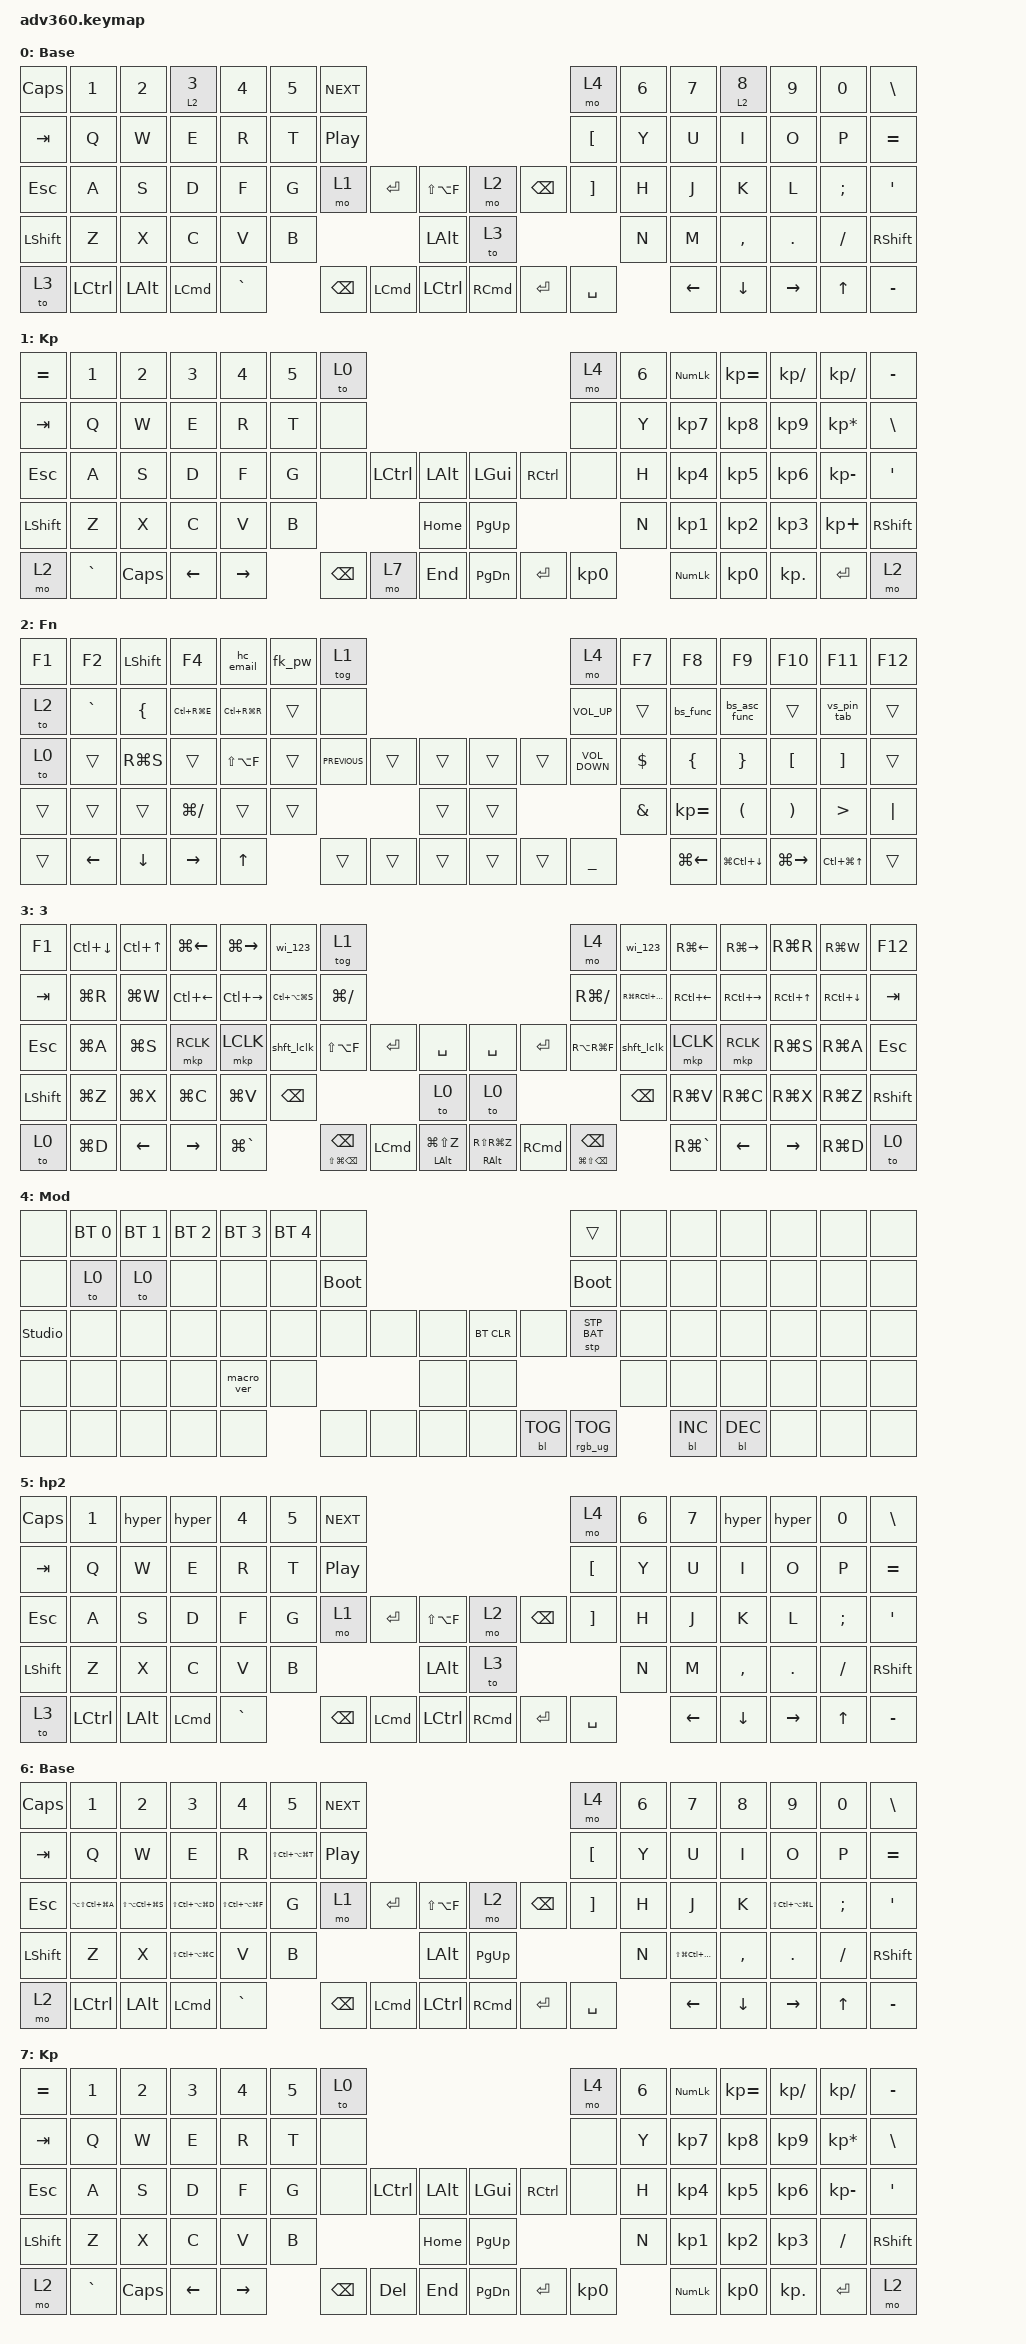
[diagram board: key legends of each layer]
#include <dt-bindings/zmk/stp.h>
#include <behaviors.dtsi>
#include <dt-bindings/zmk/backlight.h>
#include <dt-bindings/zmk/bt.h>
#include <dt-bindings/zmk/keys.h>
#include <dt-bindings/zmk/pointing.h>
#include <dt-bindings/zmk/rgb.h>

/ {
    behaviors {
        #include "macros.dtsi"
      #include "version.dtsi"

        hm: homerow_mods {
            compatible = "zmk,behavior-hold-tap";
            label = "HOMEROW_MODS";
            #binding-cells = <2>;
            tapping-term-ms = <200>;
            quick_tap_ms = <175>;
            flavor = "tap-preferred";
            bindings = <&kp>, <&kp>;
        };
    };

    macros {
        bs_func: bs_func {
            compatible = "zmk,behavior-macro";
            #binding-cells = <0>;
            bindings = <&kp LPAR &kp RPAR &kp SPACE &kp EQUAL &kp GT &kp LBRC &kp RIGHT_BRACE &kp LEFT>;
            label = "BS_FUNC";
        };

        bs_asc_func: bs_asc_func {
            compatible = "zmk,behavior-macro";
            #binding-cells = <0>;
            bindings = <&kp A &kp S &kp Y &kp N &kp C &kp LPAR &kp RPAR &kp SPACE &kp EQUAL &kp GT &kp LBRC &kp RIGHT_BRACE &kp LEFT>;
            label = "BS_ASC_FUNC";
        };

        shft_lclk: shft_lclk {
            compatible = "zmk,behavior-macro";
            #binding-cells = <0>;
            bindings =
                <&macro_press>,
                <&kp LSHIFT &mkp LCLK>,
                <&macro_pause_for_release>,
                <&macro_release>,
                <&kp LSHIFT &mkp LCLK>;

            label = "SHFT_LCLK";
        };

        vs_pin_tab: vs_pin_tab {
            compatible = "zmk,behavior-macro";
            #binding-cells = <0>;
            bindings = <&kp LG(K) &kp LS(ENTER)>;
            label = "VS_PIN_TAB";
        };

        hc_email: hc_email {
            compatible = "zmk,behavior-macro";
            #binding-cells = <0>;
            bindings = <&kp H &kp A &kp R &kp R &kp Y &kp C &kp O &kp R &kp R &kp A &kp D &kp I &kp N1 &kp AT &kp G &kp M &kp A &kp I &kp L &kp DOT &kp C &kp O &kp M>;
            label = "HC_EMAIL";
        };

        fk_pw: fk_pw {
            compatible = "zmk,behavior-macro";
            #binding-cells = <0>;
            bindings = <&kp F &kp A &kp K &kp E &kp P &kp A &kp S &kp S &kp W &kp O &kp R &kp D>;
            label = "FK_PW";
        };

        hyper: hyper {
            compatible = "zmk,behavior-macro";
            #binding-cells = <0>;
            bindings =
                <&macro_press>,
                <&kp LEFT_SHIFT &kp LEFT_CONTROL &kp LEFT_ALT &kp LEFT_GUI>,
                <&macro_pause_for_release>,
                <&macro_release>,
                <&kp LEFT_SHIFT &kp LEFT_CONTROL &kp LEFT_ALT &kp LEFT_GUI>;

            label = "HYPER";
        };

        wi_123: wi_123 {
            compatible = "zmk,behavior-macro";
            #binding-cells = <0>;
            bindings = <&kp KP_NUMBER_1 &kp KP_NUMBER_2 &kp KP_NUMBER_3>;
            label = "WI_123";
        };
    };

    combos {
        compatible = "zmk,combos";

        left_hyper_comb {
            bindings = <&hyper>;
            key-positions = <2 3>;
            layers = <0>;
        };

        right_hyper_comb {
            bindings = <&hyper>;
            key-positions = <10 11>;
            layers = <0>;
        };

        left_hyper_lower {
            bindings = <&hyper>;
            key-positions = <63 64>;
        };

        right_hyper_lower {
            bindings = <&hyper>;
            key-positions = <71 72>;
        };

        left_fn_layer {
            bindings = <&mo 2>;
            key-positions = <62 63 64>;
        };

        right_fn_layer {
            bindings = <&mo 2>;
            key-positions = <71 72 73>;
        };

        to_layer_2 {
            bindings = <&to 2>;
            key-positions = <14 15>;
        };
    };

    keymap {
        compatible = "zmk,keymap";

        default_layer {
            display-name = "Base";
            bindings = <
&kp CAPSLOCK  &kp N1            &kp NUMBER_2  &lt 2 NUMBER_3    &kp N4     &kp N5  &kp C_NEXT                                                                                  &mo 4              &kp N6  &kp N7    &lt 2 NUMBER_8  &kp NUMBER_9  &kp N0    &kp BACKSLASH
&kp TAB       &kp Q             &kp W         &kp E             &kp R      &kp T   &kp C_PLAY_PAUSE                                                                            &kp LEFT_BRACKET   &kp Y   &kp U     &kp I           &kp O         &kp P     &kp EQUAL
&kp ESC       &kp A             &kp S         &kp D             &kp F      &kp G   &mo 1             &kp ENTER         &kp LS(LA(F))         &mo 2              &kp BACKSPACE  &kp RIGHT_BRACKET  &kp H   &kp J     &kp K           &kp L         &kp SEMI  &kp SINGLE_QUOTE
&kp LSHFT     &kp Z             &kp X         &kp C             &kp V      &kp B                                       &kp LEFT_ALT          &to 3                                                &kp N   &kp M     &kp COMMA       &kp DOT       &kp FSLH  &kp RSHFT
&to 3         &kp LEFT_CONTROL  &kp LEFT_ALT  &kp LEFT_COMMAND  &kp GRAVE          &kp BSPC          &kp LEFT_COMMAND  &kp LEFT_CONTROL      &kp RIGHT_COMMAND  &kp ENTER      &kp SPACE                  &kp LEFT  &kp DOWN        &kp RIGHT     &kp UP    &kp MINUS
            >;
        };

        keypad {
            display-name = "Kp";
            bindings = <
&kp EQUAL  &kp N1     &kp N2    &kp N3    &kp N4     &kp N5  &to 0                                                    &mo 4      &kp N6  &kp KP_NUM  &kp KP_EQUAL     &kp KP_DIVIDE  &kp KP_DIVIDE    &kp MINUS
&kp TAB    &kp Q      &kp W     &kp E     &kp R      &kp T   &none                                                    &none      &kp Y   &kp KP_N7   &kp KP_N8        &kp KP_N9      &kp KP_MULTIPLY  &kp BSLH
&kp ESC    &kp A      &kp S     &kp D     &kp F      &kp G   &none     &kp LCTRL  &kp LALT      &kp LGUI   &kp RCTRL  &none      &kp H   &kp KP_N4   &kp KP_N5        &kp KP_N6      &kp KP_MINUS     &kp SQT
&kp LSHFT  &kp Z      &kp X     &kp C     &kp V      &kp B                        &kp HOME      &kp PG_UP                        &kp N   &kp KP_N1   &kp KP_N2        &kp KP_N3      &kp KP_PLUS      &kp RSHFT
&mo 2      &kp GRAVE  &kp CAPS  &kp LEFT  &kp RIGHT          &kp BSPC  &mo 7      &kp END       &kp PG_DN  &kp ENTER  &kp KP_N0          &kp KP_NUM  &kp KP_NUMBER_0  &kp KP_DOT     &kp ENTER        &mo 2
            >;
        };

        fn {
            display-name = "Fn";
            bindings = <
&kp F1  &kp F2          &kp LEFT_SHIFT  &kp F4         &hc_email      &fk_pw  &tog 1                                              &mo 4              &kp F7         &kp F8          &kp F9                &kp F10                &kp F11               &kp F12
&to 2   &kp GRAVE       &kp LEFT_BRACE  &kp LC(RG(E))  &kp LC(RG(R))  &trans  &none                                               &kp C_VOLUME_UP    &trans         &bs_func        &bs_asc_func          &trans                 &vs_pin_tab           &trans
&to 0   &trans          &kp RG(S)       &trans         &kp LS(LA(F))  &trans  &kp C_PREVIOUS  &trans  &trans      &trans  &trans  &kp C_VOLUME_DOWN  &kp DOLLAR     &kp LEFT_BRACE  &kp RIGHT_BRACE       &kp LEFT_BRACKET       &kp RIGHT_BRACKET     &trans
&trans  &trans          &trans          &kp LG(SLASH)  &trans         &trans                          &trans      &trans                             &kp AMPERSAND  &kp KP_EQUAL    &kp LEFT_PARENTHESIS  &kp RIGHT_PARENTHESIS  &kp GREATER_THAN      &kp PIPE
&trans  &kp LEFT_ARROW  &kp DOWN_ARROW  &kp RIGHT      &kp UP_ARROW           &trans          &trans  &trans      &trans  &trans  &kp UNDERSCORE                    &kp LG(LEFT)    &kp LG(LC(DOWN))      &kp LG(RIGHT)          &kp LC(LG(UP_ARROW))  &trans
            >;
        };

        mse_fn {
            display-name = "3";
            bindings = <
&kp F1          &kp LC(DOWN)  &kp LC(UP_ARROW)  &kp LG(LEFT_ARROW)  &kp LG(RIGHT)  &wi_123            &tog 1                                                                                                                     &mo 4                            &wi_123            &kp RG(LEFT_ARROW)  &kp RG(RIGHT)        &kp RG(R)         &kp RG(W)           &kp F12
&kp TAB         &kp LG(R)     &kp LG(W)         &kp LC(LEFT_ARROW)  &kp LC(RIGHT)  &kp LC(LA(LG(S)))  &kp LG(SLASH)                                                                                                              &kp RG(SLASH)                    &kp RG(RC(RA(S)))  &kp RC(LEFT_ARROW)  &kp RC(RIGHT_ARROW)  &kp RC(UP_ARROW)  &kp RC(DOWN_ARROW)  &kp TAB
&kp ESC         &kp LG(A)     &kp LG(S)         &mkp RCLK           &mkp LCLK      &shft_lclk         &kp LS(LA(F))                    &kp ENTER         &kp SPACE                   &kp SPACE                &kp ENTER          &kp RA(RG(F))                    &shft_lclk         &mkp LCLK           &mkp RCLK            &kp RG(S)         &kp RG(A)           &kp ESC
&kp LEFT_SHIFT  &kp LG(Z)     &kp LG(X)         &kp LG(C)           &kp LG(V)      &kp BACKSPACE                                                         &to 0                       &to 0                                                                        &kp BACKSPACE      &kp RG(V)           &kp RG(C)            &kp RG(X)         &kp RG(Z)           &kp RSHIFT
&to 0           &kp LG(D)     &kp LEFT_ARROW    &kp RIGHT           &kp LG(GRAVE)                     &mt LS(LG(BACKSPACE)) BACKSPACE  &kp LEFT_COMMAND  &hm LEFT_ALT LG(LS(Z))      &hm RIGHT_ALT RS(RG(Z))  &kp RIGHT_COMMAND  &mt LG(LS(BACKSPACE)) BACKSPACE                     &kp RG(GRAVE)       &kp LEFT             &kp RIGHT         &kp RG(D)           &to 0
            >;
        };

        mod {
            display-name = "Mod";
            bindings = <
&none           &bt BT_SEL 0  &bt BT_SEL 1  &bt BT_SEL 2  &bt BT_SEL 3  &bt BT_SEL 4  &none                                                  &trans           &none  &none       &none       &none  &none  &none
&none           &to 0         &to 0         &none         &none         &none         &bootloader                                            &bootloader      &none  &none       &none       &none  &none  &none
&studio_unlock  &none         &none         &none         &none         &none         &none        &none  &none      &bt BT_CLR  &none       &stp STP_BAT     &none  &none       &none       &none  &none  &none
&none           &none         &none         &none         &macro_ver    &none                             &none      &none                                    &none  &none       &none       &none  &none  &none
&none           &none         &none         &none         &none                       &none        &none  &none      &none       &bl BL_TOG  &rgb_ug RGB_TOG         &bl BL_INC  &bl BL_DEC  &none  &none  &none
            >;
        };

        HYPERS_2 {
            display-name = "hp2";
            bindings = <
&kp CAPSLOCK  &kp N1            &hyper        &hyper            &kp N4     &kp N5  &kp C_NEXT                                                                                  &mo 4              &kp N6  &kp N7    &hyper     &hyper     &kp N0    &kp BACKSLASH
&kp TAB       &kp Q             &kp W         &kp E             &kp R      &kp T   &kp C_PLAY_PAUSE                                                                            &kp LEFT_BRACKET   &kp Y   &kp U     &kp I      &kp O      &kp P     &kp EQUAL
&kp ESC       &kp A             &kp S         &kp D             &kp F      &kp G   &mo 1             &kp ENTER         &kp LS(LA(F))         &mo 2              &kp BACKSPACE  &kp RIGHT_BRACKET  &kp H   &kp J     &kp K      &kp L      &kp SEMI  &kp SINGLE_QUOTE
&kp LSHFT     &kp Z             &kp X         &kp C             &kp V      &kp B                                       &kp LEFT_ALT          &to 3                                                &kp N   &kp M     &kp COMMA  &kp DOT    &kp FSLH  &kp RSHFT
&to 3         &kp LEFT_CONTROL  &kp LEFT_ALT  &kp LEFT_COMMAND  &kp GRAVE          &kp BSPC          &kp LEFT_COMMAND  &kp LEFT_CONTROL      &kp RIGHT_COMMAND  &kp ENTER      &kp SPACE                  &kp LEFT  &kp DOWN   &kp RIGHT  &kp UP    &kp MINUS
            >;
        };

        HYPERS_1 {
            display-name = "Base";
            bindings = <
&kp CAPSLOCK  &kp N1                 &kp N2                 &kp N3                 &kp N4                 &kp N5                 &kp C_NEXT                                                                                  &mo 4              &kp N6  &kp N7                 &kp N8     &kp N9                 &kp N0    &kp BACKSLASH
&kp TAB       &kp Q                  &kp W                  &kp E                  &kp R                  &kp LS(LC(LA(LG(T))))  &kp C_PLAY_PAUSE                                                                            &kp LEFT_BRACKET   &kp Y   &kp U                  &kp I      &kp O                  &kp P     &kp EQUAL
&kp ESC       &kp LA(LS(LC(LG(A))))  &kp LS(LA(LC(LG(S))))  &kp LS(LC(LA(LG(D))))  &kp LS(LC(LA(LG(F))))  &kp G                  &mo 1             &kp ENTER         &kp LS(LA(F))         &mo 2              &kp BACKSPACE  &kp RIGHT_BRACKET  &kp H   &kp J                  &kp K      &kp LS(LC(LA(LG(L))))  &kp SEMI  &kp SINGLE_QUOTE
&kp LSHFT     &kp Z                  &kp X                  &kp LS(LC(LA(LG(C))))  &kp V                  &kp B                                                      &kp LEFT_ALT          &kp PG_UP                                            &kp N   &kp LS(LG(LC(LA(M))))  &kp COMMA  &kp DOT                &kp FSLH  &kp RSHFT
&mo 2         &kp LEFT_CONTROL       &kp LEFT_ALT           &kp LEFT_COMMAND       &kp GRAVE                                     &kp BSPC          &kp LEFT_COMMAND  &kp LEFT_CONTROL      &kp RIGHT_COMMAND  &kp ENTER      &kp SPACE                  &kp LEFT               &kp DOWN   &kp RIGHT              &kp UP    &kp MINUS
            >;

            label = "hp1";
        };

        kp_spreadsheet {
            display-name = "Kp";
            bindings = <
&kp EQUAL  &kp N1     &kp N2    &kp N3    &kp N4     &kp N5  &to 0                                                    &mo 4      &kp N6  &kp KP_NUM  &kp KP_EQUAL     &kp KP_DIVIDE  &kp KP_DIVIDE    &kp MINUS
&kp TAB    &kp Q      &kp W     &kp E     &kp R      &kp T   &none                                                    &none      &kp Y   &kp KP_N7   &kp KP_N8        &kp KP_N9      &kp KP_MULTIPLY  &kp BSLH
&kp ESC    &kp A      &kp S     &kp D     &kp F      &kp G   &none     &kp LCTRL  &kp LALT      &kp LGUI   &kp RCTRL  &none      &kp H   &kp KP_N4   &kp KP_N5        &kp KP_N6      &kp KP_MINUS     &kp SQT
&kp LSHFT  &kp Z      &kp X     &kp C     &kp V      &kp B                        &kp HOME      &kp PG_UP                        &kp N   &kp KP_N1   &kp KP_N2        &kp KP_N3      &kp SLASH        &kp RSHFT
&mo 2      &kp GRAVE  &kp CAPS  &kp LEFT  &kp RIGHT          &kp BSPC  &kp DEL    &kp END       &kp PG_DN  &kp ENTER  &kp KP_N0          &kp KP_NUM  &kp KP_NUMBER_0  &kp KP_DOT     &kp ENTER        &mo 2
            >;
        };
    };
};
